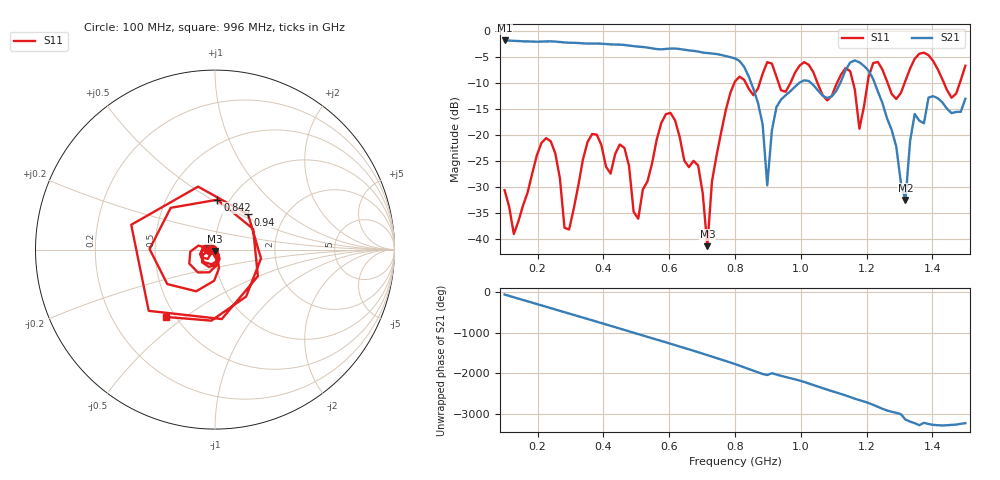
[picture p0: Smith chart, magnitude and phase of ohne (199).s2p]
! NanoVNA-App
! Date: 2025-09-25 14:22:21
! Start: 100MHz Stop: 1,5GHz Points: 101
! S-Parameter data: F S11 S21 S12 S22
# Hz S RI R 50
!  Frequency  S11_Real  S11_Imag  S21_Real  S21_Imag  S12_Real  S12_Imag  S22_Real  S22_Imag
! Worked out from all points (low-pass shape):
!   101 points, 100 MHz to 1.5 GHz, reference 50 ohm
!   highest |S21| = -1.80 dB at 100 MHz (marker M1); lowest = -32.5 dB at 1.318 GHz (marker M2)
!   |S21| within 3 dB of the highest: start of sweep to 771.5 MHz
!   lowest |S11| = -41.4 dB at 716 MHz (marker M3), VSWR 1.02, Z = 49.8 - j0.813 ohm
!   |S11| at or under -10 dB: start of sweep to 798 MHz; 833 MHz to 875.1 MHz (42.11 MHz wide, 4.93 % of centre); 1.051 GHz to 1.11 GHz (59.1 MHz wide, 5.47 % of centre) (the widest 3 of 7)
!   S12 and S22 are empty: the file has one direction only
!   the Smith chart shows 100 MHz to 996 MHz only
!   S11 on the Smith chart (normalised r, x): 100 MHz: 0.94, -0.01; 842 MHz: 0.88, +0.53; 940 MHz: 1.32, +0.56; 996 MHz: 0.44, -0.43
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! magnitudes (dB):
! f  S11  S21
! 100 MHz  -30.6  -1.8
! 128 MHz  -39.1  -1.9
! 226 MHz  -20.6  -2.0
! 296 MHz  -38.2  -2.2
! 338 MHz  -24.7  -2.4
! 464 MHz  -22.5  -2.7
! 506 MHz  -36.1  -3.0
! 576 MHz  -17.7  -3.5
! 688 MHz  -25.9  -3.9
! 716 MHz  -41.4  -4.2
! 800 MHz  -9.7  -5.3
! 842 MHz  -11.1  -8.8
! 898 MHz  -6.0  -29.7
! 940 MHz  -11.4  -13.2
! 996 MHz  -6.7  -9.9
! 1.038 GHz  -7.9  -10.4
! 1.178 GHz  -18.8  -6.0
! 1.22 GHz  -6.2  -9.3
! 1.276 GHz  -12.1  -19.0
! 1.318 GHz  -9.5  -32.5
! 1.346 GHz  -5.3  -16.0
! 1.5 GHz  -6.7  -13.0
